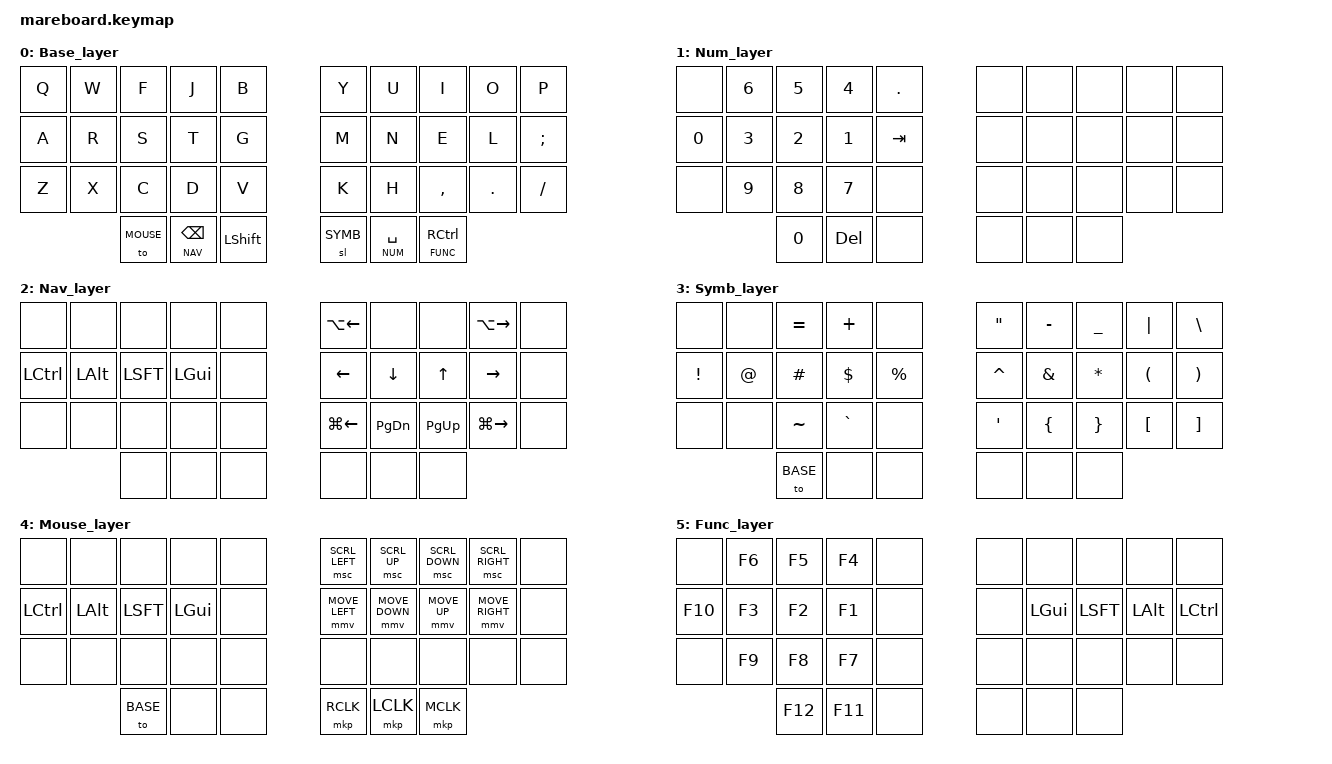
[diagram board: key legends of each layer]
#include <behaviors.dtsi>
#include <dt-bindings/zmk/keys.h>
#include <dt-bindings/zmk/bt.h>
#include <dt-bindings/zmk/outputs.h>

#define BASE 0
#define NUM 1
#define NAV 2
#define SYMB 3
#define MOUSE 4
#define FUNC 5

#define HYPER LS(LC(LA(LCMD)))
#define MEH LS(LC(LALT))

#include "../zmk-nodefree-config/helper.h"
#include "../zmk-nodefree-config/keypos_def/keypos_36keys.h"
#define KEYS_L LT0 LT1 LT2 LT3 LT4 LM0 LM1 LM2 LM3 LM4 LB0 LB1 LB2 LB3 LB4  // left-hand keys
#define KEYS_R RT0 RT1 RT2 RT3 RT4 RM0 RM1 RM2 RM3 RM4 RB0 RB1 RB2 RB3 RB4  // right-hand keys
#define THUMBS LH2 LH1 LH0 RH0 RH1 RH2                                      // thumb keys

#include "combos.dtsi"
#include "mouse.dtsi"

#define COMBO_TIMEOUT_MS 45

#define U_MS_U &mmv MOVE_UP
#define U_MS_D &mmv MOVE_DOWN
#define U_MS_L &mmv MOVE_LEFT
#define U_MS_R &mmv MOVE_RIGHT
#define U_WH_U &msc SCRL_UP
#define U_WH_D &msc SCRL_DOWN
#define U_WH_L &msc SCRL_LEFT
#define U_WH_R &msc SCRL_RIGHT

/ {
  combos {
    compatible = "zmk,combos";
    
    combo_LeftCmd {
      timeout-ms = <COMBO_TIMEOUT_MS>;
      key-positions = <2 3>;
      layers = <BASE NUM NAV SYMB MOUSE FUNC>;
      bindings = <&kp LGUI>; 
    };
    
    combo_RightCmd {
      timeout-ms = <COMBO_TIMEOUT_MS>;
      key-positions = <6 7>;
      layers = <BASE NUM NAV SYMB MOUSE FUNC>;
      bindings = <&kp RGUI>; 
    };
    
    combo_LeftHyper {
      timeout-ms = <COMBO_TIMEOUT_MS>;
      key-positions = <1 2>;
      layers = <BASE NAV NUM SYMB MOUSE FUNC>;
      bindings = <&kp HYPER>;
    };
    
    combo_RightHyper {
      timeout-ms = <COMBO_TIMEOUT_MS>;
      key-positions = <7 8>;
      layers = <BASE NUM NAV SYMB MOUSE FUNC>;
      bindings = <&kp HYPER>;
    };
    
    combo_LeftTab {
      timeout-ms = <COMBO_TIMEOUT_MS>;
      key-positions = <11 13>;
      layers = <BASE NUM NAV SYMB MOUSE FUNC>;
      bindings = <&kp TAB>; 
    };
    
    combo_A {
      timeout-ms = <COMBO_TIMEOUT_MS>;
      key-positions = <12 13>;
      layers = <BASE NUM NAV SYMB>;
      bindings = <&kp A>; 
    };
    
    combo_RightEnter {
      timeout-ms = <COMBO_TIMEOUT_MS>;
      key-positions = <17 18>;
      layers = <NUM BASE NAV SYMB MOUSE FUNC>;
      bindings = <&kp RET>; 
    };
    
    combo_LeftBackspace {
      timeout-ms = <COMBO_TIMEOUT_MS>;
      key-positions = <11 12>;
      layers = <BASE NUM NAV SYMB MOUSE FUNC>;
      bindings = <&kp BACKSPACE>; 
    };
    
    combo_RightEsc {
      timeout-ms = <COMBO_TIMEOUT_MS>;
      key-positions = <16 17>;
      layers = <BASE>;
      bindings = <&kp ESC>; 
    };
    
    combo_RightPanic {
      timeout-ms = <COMBO_TIMEOUT_MS>;
      key-positions = <16 17>;
      layers = <NUM NAV SYMB MOUSE FUNC>;
      bindings = <&to BASE>; 
    };  
        
    combo_LeftShift {
      timeout-ms = <COMBO_TIMEOUT_MS>;
      key-positions = <21 22>;
      layers = <BASE NUM NAV SYMB MOUSE FUNC>;
      bindings = <&kp LSFT>; 
    };
    
    combo_RightAlt {
      timeout-ms = <COMBO_TIMEOUT_MS>;
      key-positions = <27 28>;
      layers = <BASE NUM NAV SYMB MOUSE FUNC>;
      bindings = <&kp RALT>; 
    };

    combo_LeftMeh {
      timeout-ms = <COMBO_TIMEOUT_MS>;
      key-positions = <22 23>;
      layers = <BASE NUM NAV SYMB MOUSE FUNC>;
      bindings = <&kp MEH>;
    };
    
    combo_RightMeh {
      timeout-ms = <COMBO_TIMEOUT_MS>;
      key-positions = <26 27>;
      layers = <BASE NUM NAV SYMB MOUSE FUNC>;
      bindings = <&kp MEH>;
    };

    combo_USB {
      timeout-ms = <COMBO_TIMEOUT_MS>;
      key-positions = <17 18 19>;
      layers = <BASE NUM NAV SYMB MOUSE FUNC>;
      bindings = <&out OUT_TOG>; 
    };
  };

  behaviors {
  };

  keymap {
    compatible = "zmk,keymap";
    
    Base_layer {
      bindings = <
        &kp Q          &kp W          &kp F               &kp J                &kp B           &kp Y                &kp U          &kp I           &kp O                 &kp P
        &kp A          &kp R          &kp S               &kp T                &kp G           &kp M                &kp N          &kp E           &kp L                 &kp SEMICOLON
        &kp Z          &kp X          &kp C               &kp D                &kp V           &kp K                &kp H          &kp COMMA       &kp PERIOD            &kp SLASH
                                      &to MOUSE           &lt NAV BACKSPACE    &kp LEFT_SHIFT  &sl SYMB             &lt NUM SPACE  &lt FUNC RIGHT_CONTROL
      >;
    };
    
    Num_layer {
      bindings = <
        &none          &kp NUMBER_6   &kp NUMBER_5        &kp NUMBER_4         &kp DOT         &none                &none          &none           &none                 &none
        &kp NUMBER_0   &kp NUMBER_3   &kp NUMBER_2        &kp NUMBER_1         &kp TAB         &none                &none          &none           &none                 &none
        &none          &kp NUMBER_9   &kp NUMBER_8        &kp NUMBER_7         &none           &none                &none          &none           &none                 &none
                                      &kp NUMBER_0        &kp DEL              &none           &none                &none          &none
      >;
    };
    
    Nav_layer {
      bindings = <
        &none          &none          &none               &none                &none           &kp LA(LEFT)         &none          &none           &kp LA(RIGHT)         &none
        &kp LCTRL      &kp LALT       &kp LSFT            &kp LGUI             &none           &kp LEFT             &kp DOWN       &kp UP          &kp RIGHT             &none
        &none          &none          &none               &none                &none           &kp LG(LEFT)         &kp PG_DN      &kp PG_UP       &kp LG(RIGHT)         &none
                                      &none               &none                &none           &none                &none          &none
      >;
    };
    
    Symb_layer {
      bindings = <
        &none          &none          &kp EQUAL           &kp PLUS             &none           &kp DOUBLE_QUOTES    &kp MINUS      &kp UNDERSCORE  &kp PIPE              &kp BACKSLASH
        &kp EXCLAMATION &kp AT_SIGN   &kp HASH            &kp DOLLAR           &kp PERCENT     &kp CARET            &kp AMPERSAND  &kp ASTERISK    &kp LEFT_PARENTHESIS  &kp RIGHT_PARENTHESIS
        &none          &none          &kp TILDE           &kp GRAVE            &none           &kp SINGLE_QUOTE     &kp LEFT_BRACE &kp RIGHT_BRACE &kp LEFT_BRACKET      &kp RIGHT_BRACKET
                                      &to BASE            &none                &none           &none                &none          &none
      >;
    };
    
    Mouse_layer {
      bindings = <
        &none          &none          &none               &none                &none           U_WH_L               U_WH_U         U_WH_D          U_WH_R                &none
        &kp LCTRL      &kp LALT       &kp LSFT            &kp LGUI             &none           U_MS_L               U_MS_D         U_MS_U          U_MS_R                &none
        &none          &none          &none               &none                &none           &none                &none          &none           &none                 &none
                                      &to BASE            &none                &none           &mkp RCLK            &mkp LCLK      &mkp MCLK
      >;
    };
    
    Func_layer {
      bindings = <
        &none          &kp F6         &kp F5              &kp F4               &none           &none                &none          &none           &none                 &none
        &kp F10        &kp F3         &kp F2              &kp F1               &none           &none                &kp LGUI       &kp LSFT        &kp LALT              &kp LCTRL
        &none          &kp F9         &kp F8              &kp F7               &none           &none                &none          &none           &none                 &none
                                      &kp F12             &kp F11              &none           &none                &none          &none
      >;
    };
  };
};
